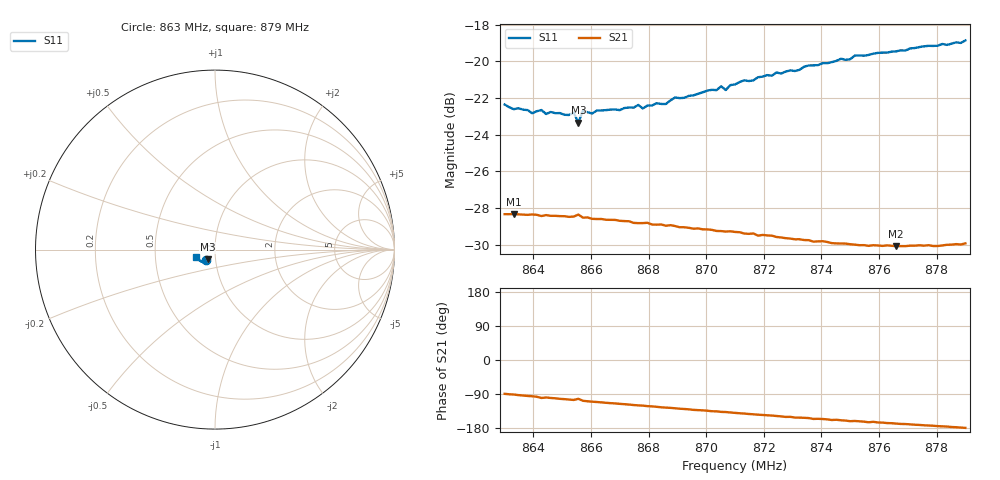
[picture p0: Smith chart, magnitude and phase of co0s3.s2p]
# HZ S RI R 50
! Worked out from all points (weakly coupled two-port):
!   101 points, 863 MHz to 879 MHz, reference 50 ohm
!   highest |S21| = -28.32 dB at 863.32 MHz (marker M1); lowest = -30.1 dB at 876.6 MHz (marker M2)
!   lowest |S11| = -23.3 dB at 865.56 MHz (marker M3), VSWR 1.15, Z = 45.8 - j5.05 ohm
!   |S11| at or under -10 dB: start of sweep to end of sweep
!   S12 and S22 are empty: the file has one direction only
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8.63e8  -0.0474 -0.0597  0.000521 -0.0383  0 0  0 0
8.6332e8  -0.0448 -0.0589  -0.000757 -0.0384  0 0  0 0
8.6396e8  -0.0426 -0.0583  -0.00378 -0.0381  0 0  0 0
8.6428e8  -0.0429 -0.0599  -0.0067 -0.0373  0 0  0 0
8.6444e8  -0.0423 -0.0581  -0.00589 -0.0376  0 0  0 0
8.654e8  -0.0405 -0.0601  -0.01 -0.0364  0 0  0 0
8.6556e8  -0.0405 -0.0548  -0.00821 -0.0373  0 0  0 0
8.6572e8  -0.0405 -0.0612  -0.0113 -0.0357  0 0  0 0
8.6604e8  -0.0404 -0.0597  -0.0128 -0.035  0 0  0 0
8.662e8  -0.0412 -0.0607  -0.0132 -0.0347  0 0  0 0
8.6844e8  -0.042 -0.0639  -0.0205 -0.0295  0 0  0 0
8.6892e8  -0.0439 -0.0665  -0.0216 -0.0282  0 0  0 0
8.7036e8  -0.0489 -0.0676  -0.0246 -0.0242  0 0  0 0
8.7052e8  -0.0504 -0.0691  -0.0252 -0.0235  0 0  0 0
8.7068e8  -0.0485 -0.068  -0.0253 -0.0233  0 0  0 0
8.71e8  -0.0518 -0.0693  -0.0261 -0.0222  0 0  0 0
8.7372e8  -0.0689 -0.069  -0.0294 -0.0134  0 0  0 0
8.75e8  -0.0783 -0.0642  -0.0301 -0.0101  0 0  0 0
8.7516e8  -0.0816 -0.064  -0.0299 -0.0104  0 0  0 0
8.7644e8  -0.0892 -0.0577  -0.0306 -0.00719  0 0  0 0
8.766e8  -0.0902 -0.0565  -0.0307 -0.0066  0 0  0 0
8.79e8  -0.1073 -0.0386  -0.0319 -0.000477  0 0  0 0
